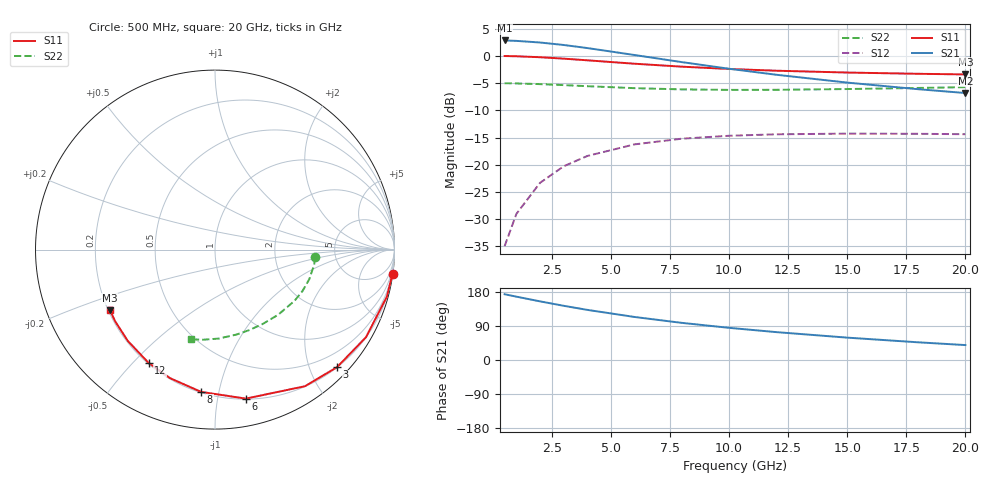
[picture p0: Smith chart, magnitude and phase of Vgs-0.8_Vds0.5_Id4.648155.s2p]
# Hz S RI R 50
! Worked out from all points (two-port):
!   12 points, 500 MHz to 20 GHz, reference 50 ohm
!   highest |S21| = 2.84 dB at 500 MHz (marker M1); lowest = -6.8 dB at 20 GHz (marker M2)
!   |S21| within 3 dB of the highest: start of sweep to 6.495 GHz
!   lowest |S11| = -3.4 dB at 20 GHz (marker M3), VSWR 5.17, Z = 10.3 - j12.8 ohm
!   |S11| at or under -10 dB: nowhere
!   |S22| runs from -6.2 to -5.0 dB; largest |S21 - S12| = 1.4
!   S11 on the Smith chart (normalised r, x): 500 MHz: 0, -15; 3 GHz: 0.20, -2.46; 6 GHz: 0.20, -1.21; 8 GHz: 0.20, -0.89; 12 GHz: 0.20, -0.55; 20 GHz: 0.21, -0.26
5e8  0.9892 -0.1337  -1.378 0.156  0.00166 0.0178  0.5593 -0.0436
1e9  0.9575 -0.2623  -1.34 0.3059  0.00653 0.0348  0.5521 -0.0862
2e9  0.8414 -0.488  -1.201 0.5673  0.0243 0.0638  0.5253 -0.165
3e9  0.6795 -0.6553  -1.007 0.7578  0.0489 0.0836  0.4869 -0.2319
4e9  0.5009 -0.7613  -0.7945 0.8741  0.0756 0.0937  0.4426 -0.2861
6e9  0.1719 -0.8302  -0.4072 0.9344  0.1234 0.092  0.352 -0.3629
8e9  -0.077 -0.7929  -0.122 0.8685  0.1569 0.0743  0.2681 -0.4131
1e10  -0.2506 -0.7161  0.068 0.7591  0.1772 0.0517  0.1919 -0.4481
1.2e10  -0.3704 -0.6306  0.1899 0.6438  0.1881 0.0292  0.1208 -0.473
1.5e10  -0.4859 -0.5087  0.2926 0.4876  0.1933 -0.000808  0.0206 -0.4957
1.8e10  -0.5552 -0.4013  0.3392 0.3599  0.1908 -0.0253  -0.0732 -0.5026
2e10  -0.5856 -0.3376  0.3524 0.2895  0.1868 -0.0388  -0.132 -0.4993
